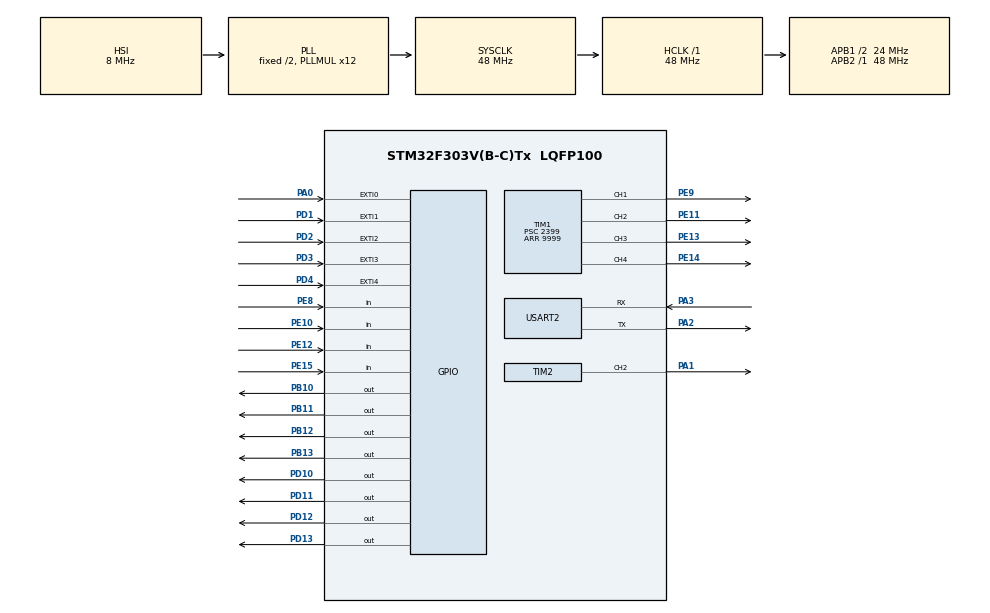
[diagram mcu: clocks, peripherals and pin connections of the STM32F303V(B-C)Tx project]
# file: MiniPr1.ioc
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Mcu.Family=STM32F3
Mcu.Name=STM32F303V(B-C)Tx
Mcu.Package=LQFP100
NVIC.EXTI0_IRQn=true\:0\:0\:false\:false\:true\:true\:true
NVIC.EXTI1_IRQn=true\:0\:0\:false\:false\:true\:true\:true
NVIC.EXTI2_TSC_IRQn=true\:0\:0\:false\:false\:true\:true\:true
NVIC.EXTI3_IRQn=true\:0\:0\:false\:false\:true\:true\:true
NVIC.EXTI4_IRQn=true\:0\:0\:false\:false\:true\:true\:true
NVIC.PriorityGroup=NVIC_PRIORITYGROUP_4
NVIC.TIM3_IRQn=true\:0\:0\:false\:false\:true\:true\:true
NVIC.TIM6_DAC_IRQn=true\:0\:0\:false\:false\:true\:true\:true
NVIC.TIM7_IRQn=true\:0\:0\:false\:false\:true\:true\:true
NVIC.USART2_IRQn=true\:0\:0\:false\:false\:true\:true\:true
PA0.GPIO_PuPd=GPIO_PULLDOWN
PA0.Signal=GPXTI0
PA1.Signal=S_TIM2_CH2
PA2.Mode=Asynchronous
PA2.Signal=USART2_TX
PA3.Mode=Asynchronous
PA3.Signal=USART2_RX
PB10.GPIO_PuPd=GPIO_PULLDOWN
PB10.Signal=GPIO_Output
PB11.GPIO_PuPd=GPIO_PULLDOWN
PB11.Signal=GPIO_Output
PB12.GPIO_PuPd=GPIO_PULLDOWN
PB12.Signal=GPIO_Output
PB13.GPIO_PuPd=GPIO_PULLDOWN
PB13.Signal=GPIO_Output
PD1.GPIO_PuPd=GPIO_PULLDOWN
PD1.Signal=GPXTI1
PD10.GPIO_PuPd=GPIO_PULLDOWN
PD10.Signal=GPIO_Output
PD11.GPIO_PuPd=GPIO_PULLDOWN
PD11.Signal=GPIO_Output
PD12.GPIO_PuPd=GPIO_PULLDOWN
PD12.Signal=GPIO_Output
PD13.GPIO_PuPd=GPIO_PULLDOWN
PD13.Signal=GPIO_Output
PD2.GPIO_PuPd=GPIO_PULLDOWN
PD2.Signal=GPXTI2
PD3.GPIO_PuPd=GPIO_PULLDOWN
PD3.Signal=GPXTI3
PD4.GPIO_PuPd=GPIO_PULLDOWN
PD4.Signal=GPXTI4
PE10.GPIO_PuPd=GPIO_PULLDOWN
PE10.Signal=GPIO_Input
PE11.Signal=S_TIM1_CH2
PE12.GPIO_PuPd=GPIO_PULLDOWN
PE12.Signal=GPIO_Input
PE13.Signal=S_TIM1_CH3
PE14.Signal=S_TIM1_CH4
PE15.GPIO_PuPd=GPIO_PULLDOWN
PE15.Signal=GPIO_Input
PE8.GPIO_PuPd=GPIO_PULLDOWN
PE8.Signal=GPIO_Input
PE9.Signal=S_TIM1_CH1
ProjectManager.HeapSize=0x200
ProjectManager.StackSize=0x400
ProjectManager.TargetToolchain=STM32CubeIDE
RCC.AHBFreq_Value=48000000
RCC.APB1CLKDivider=RCC_HCLK_DIV2
RCC.APB1Freq_Value=24000000
RCC.APB1TimFreq_Value=48000000
RCC.APB2Freq_Value=48000000
RCC.APB2TimFreq_Value=48000000
RCC.CortexFreq_Value=48000000
RCC.HCLKFreq_Value=48000000
RCC.HSE_VALUE=8000000
RCC.HSI_VALUE=8000000
RCC.LSE_VALUE=32768
RCC.PLLMUL=RCC_PLL_MUL12
RCC.SYSCLKFreq_VALUE=48000000
RCC.SYSCLKSourceVirtual=RCC_SYSCLKSOURCE_PLLCLK
RCC.USBFreq_Value=48000000
SH.S_TIM1_CH1.0=TIM1_CH1,PWM Generation1 CH1
SH.S_TIM1_CH2.0=TIM1_CH2,PWM Generation2 CH2
SH.S_TIM1_CH3.0=TIM1_CH3,PWM Generation3 CH3
SH.S_TIM1_CH4.0=TIM1_CH4,PWM Generation4 CH4
SH.S_TIM2_CH2.0=TIM2_CH2,PWM Generation2 CH2
TIM1.Channel-PWM\ Generation1\ CH1=TIM_CHANNEL_1
TIM1.Channel-PWM\ Generation2\ CH2=TIM_CHANNEL_2
TIM1.Channel-PWM\ Generation3\ CH3=TIM_CHANNEL_3
TIM1.Channel-PWM\ Generation4\ CH4=TIM_CHANNEL_4
TIM1.Period=9999
TIM1.Prescaler=2399
TIM2.Channel-PWM\ Generation2\ CH2=TIM_CHANNEL_2
TIM2.Period=10
TIM2.Prescaler=10
TIM3.Period=999
TIM3.Prescaler=191
TIM6.Period=999
TIM6.Prescaler=2399
TIM7.Period=999
TIM7.Prescaler=239
USART2.VirtualMode-Asynchronous=VM_ASYNC
VP_TIM1_VS_ClockSourceINT.Mode=Internal
VP_TIM2_VS_ClockSourceINT.Mode=Internal
VP_TIM3_VS_ClockSourceINT.Mode=Internal
VP_TIM6_VS_ClockSourceINT.Mode=Enable_Timer
VP_TIM7_VS_ClockSourceINT.Mode=Enable_Timer
board=custom

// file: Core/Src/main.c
/* USER CODE BEGIN Header */
/**
  ******************************************************************************
  * @file           : main.c
  * @brief          : Main program body
  ******************************************************************************
  * @attention
  *
  * <h2><center>&copy; Copyright (c) 2022 STMicroelectronics.
  * All rights reserved.</center></h2>
  *
  * This software component is licensed by ST under BSD 3-Clause license,
  * the "License"; You may not use this file except in compliance with the
  * License. You may obtain a copy of the License at:
  *                        opensource.org/licenses/BSD-3-Clause
  *
  ******************************************************************************
  */
/* USER CODE END Header */
#include "main.h"

/* USER CODE BEGIN Includes */
#include "string.h"
/* USER CODE END Includes */

/* USER CODE BEGIN PD */

#define password_not_set 0
#define waiting_for_entering_password 1

/* USER CODE END PD */

TIM_HandleTypeDef htim1;
TIM_HandleTypeDef htim2;
TIM_HandleTypeDef htim3;
TIM_HandleTypeDef htim6;
TIM_HandleTypeDef htim7;

UART_HandleTypeDef huart2;

/* USER CODE BEGIN PV */

char data;
char buffer[4] = "";
int position = 0;
int password = 0;
int program_state = password_not_set;
extern int digit_value_1, digit_value_2, digit_value_3, digit_value_4;

/* USER CODE END PV */

void SystemClock_Config(void);

static void MX_GPIO_Init(void);

static void MX_USART2_UART_Init(void);

static void MX_TIM1_Init(void);

static void MX_TIM7_Init(void);

static void MX_TIM2_Init(void);

static void MX_TIM6_Init(void);

static void MX_TIM3_Init(void);

/* USER CODE BEGIN 0 */
TIM_HandleTypeDef *pwm_timer = &htim2;
uint32_t pwm_channel = TIM_CHANNEL_2;

void PWM_Start() {
    HAL_TIM_PWM_Start(pwm_timer, pwm_channel);
}

void HAL_UART_RxCpltCallback(UART_HandleTypeDef *huart) {
    if (program_state == password_not_set) {
        buffer[position] = data;
        buffer[position + 1] = '\0';
        position++;

        if (position == 4) {
            password = (buffer[0] - '0') + (buffer[1] - '0') * 10 + (buffer[2] - '0') * 100 + (buffer[3] - '0') * 1000;

            char message[24] = "\nYour Password is ";
            strcat(message, buffer);
            strcat(message, ".\n");
            HAL_UART_Transmit(&huart2, message, sizeof(message), 1000);

            program_state = waiting_for_entering_password;
            return;
        }

        HAL_UART_Receive_IT(huart, &data, sizeof(data));
    }
}
/* USER CODE END 0 */

int main(void) {

    /* MCU Configuration--------------------------------------------------------*/

    /* Reset of all peripherals, Initializes the Flash interface and the Systick. */
    HAL_Init();

    /* Configure the system clock */
    SystemClock_Config();

    /* Initialize all configured peripherals */
    MX_GPIO_Init();
    MX_USART2_UART_Init();
    MX_TIM1_Init();
    MX_TIM7_Init();
    MX_TIM2_Init();
    MX_TIM6_Init();
    MX_TIM3_Init();
    /* USER CODE BEGIN 2 */
    unsigned char message[32] = "Please Enter Your New Password.\n";
    HAL_UART_Transmit(&huart2, message, sizeof(message), 1000);

    HAL_UART_Receive_IT(&huart2, &data, sizeof(data));

    HAL_TIM_PWM_Start(&htim1, TIM_CHANNEL_1);
    HAL_TIM_PWM_Start(&htim1, TIM_CHANNEL_2);
    HAL_TIM_PWM_Start(&htim1, TIM_CHANNEL_3);
    HAL_TIM_PWM_Start(&htim1, TIM_CHANNEL_4);

    HAL_TIM_Base_Start_IT(&htim3);
    HAL_TIM_Base_Start_IT(&htim6);
    HAL_TIM_Base_Start_IT(&htim7);

    PWM_Start();
    /* USER CODE END 2 */

    /* Infinite loop */
    while (1) {

    }
}

void SystemClock_Config(void) {
    RCC_OscInitTypeDef RCC_OscInitStruct = {0};
    RCC_ClkInitTypeDef RCC_ClkInitStruct = {0};
    RCC_PeriphCLKInitTypeDef PeriphClkInit = {0};

    /** Initializes the RCC Oscillators according to the specified parameters
    * in the RCC_OscInitTypeDef structure.
    */
    RCC_OscInitStruct.OscillatorType = RCC_OSCILLATORTYPE_HSI;
    RCC_OscInitStruct.HSIState = RCC_HSI_ON;
    RCC_OscInitStruct.HSICalibrationValue = RCC_HSICALIBRATION_DEFAULT;
    RCC_OscInitStruct.PLL.PLLState = RCC_PLL_ON;
    RCC_OscInitStruct.PLL.PLLSource = RCC_PLLSOURCE_HSI;
    RCC_OscInitStruct.PLL.PLLMUL = RCC_PLL_MUL12;
    if (HAL_RCC_OscConfig(&RCC_OscInitStruct) != HAL_OK) {
        Error_Handler();
    }
    /** Initializes the CPU, AHB and APB buses clocks
    */
    RCC_ClkInitStruct.ClockType = RCC_CLOCKTYPE_HCLK | RCC_CLOCKTYPE_SYSCLK
                                  | RCC_CLOCKTYPE_PCLK1 | RCC_CLOCKTYPE_PCLK2;
    RCC_ClkInitStruct.SYSCLKSource = RCC_SYSCLKSOURCE_PLLCLK;
    RCC_ClkInitStruct.AHBCLKDivider = RCC_SYSCLK_DIV1;
    RCC_ClkInitStruct.APB1CLKDivider = RCC_HCLK_DIV2;
    RCC_ClkInitStruct.APB2CLKDivider = RCC_HCLK_DIV1;

    if (HAL_RCC_ClockConfig(&RCC_ClkInitStruct, FLASH_LATENCY_1) != HAL_OK) {
        Error_Handler();
    }
    PeriphClkInit.PeriphClockSelection = RCC_PERIPHCLK_USART2 | RCC_PERIPHCLK_TIM1;
    PeriphClkInit.Usart2ClockSelection = RCC_USART2CLKSOURCE_PCLK1;
    PeriphClkInit.Tim1ClockSelection = RCC_TIM1CLK_HCLK;
    if (HAL_RCCEx_PeriphCLKConfig(&PeriphClkInit) != HAL_OK) {
        Error_Handler();
    }
}

static void MX_TIM1_Init(void) {

    TIM_ClockConfigTypeDef sClockSourceConfig = {0};
    TIM_MasterConfigTypeDef sMasterConfig = {0};
    TIM_OC_InitTypeDef sConfigOC = {0};
    TIM_BreakDeadTimeConfigTypeDef sBreakDeadTimeConfig = {0};

    htim1.Instance = TIM1;
    htim1.Init.Prescaler = 2399;
    htim1.Init.CounterMode = TIM_COUNTERMODE_UP;
    htim1.Init.Period = 9999;
    htim1.Init.ClockDivision = TIM_CLOCKDIVISION_DIV1;
    htim1.Init.RepetitionCounter = 0;
    htim1.Init.AutoReloadPreload = TIM_AUTORELOAD_PRELOAD_DISABLE;
    if (HAL_TIM_Base_Init(&htim1) != HAL_OK) {
        Error_Handler();
    }
    sClockSourceConfig.ClockSource = TIM_CLOCKSOURCE_INTERNAL;
    if (HAL_TIM_ConfigClockSource(&htim1, &sClockSourceConfig) != HAL_OK) {
        Error_Handler();
    }
    if (HAL_TIM_PWM_Init(&htim1) != HAL_OK) {
        Error_Handler();
    }
    sMasterConfig.MasterOutputTrigger = TIM_TRGO_RESET;
    sMasterConfig.MasterOutputTrigger2 = TIM_TRGO2_RESET;
    sMasterConfig.MasterSlaveMode = TIM_MASTERSLAVEMODE_DISABLE;
    if (HAL_TIMEx_MasterConfigSynchronization(&htim1, &sMasterConfig) != HAL_OK) {
        Error_Handler();
    }
    sConfigOC.OCMode = TIM_OCMODE_PWM1;
    sConfigOC.Pulse = 0;
    sConfigOC.OCPolarity = TIM_OCPOLARITY_HIGH;
    sConfigOC.OCNPolarity = TIM_OCNPOLARITY_HIGH;
    sConfigOC.OCFastMode = TIM_OCFAST_DISABLE;
    sConfigOC.OCIdleState = TIM_OCIDLESTATE_RESET;
    sConfigOC.OCNIdleState = TIM_OCNIDLESTATE_RESET;
    if (HAL_TIM_PWM_ConfigChannel(&htim1, &sConfigOC, TIM_CHANNEL_1) != HAL_OK) {
        Error_Handler();
    }
    if (HAL_TIM_PWM_ConfigChannel(&htim1, &sConfigOC, TIM_CHANNEL_2) != HAL_OK) {
        Error_Handler();
    }
    if (HAL_TIM_PWM_ConfigChannel(&htim1, &sConfigOC, TIM_CHANNEL_3) != HAL_OK) {
        Error_Handler();
    }
    if (HAL_TIM_PWM_ConfigChannel(&htim1, &sConfigOC, TIM_CHANNEL_4) != HAL_OK) {
        Error_Handler();
    }
    sBreakDeadTimeConfig.OffStateRunMode = TIM_OSSR_DISABLE;
    sBreakDeadTimeConfig.OffStateIDLEMode = TIM_OSSI_DISABLE;
    sBreakDeadTimeConfig.LockLevel = TIM_LOCKLEVEL_OFF;
    sBreakDeadTimeConfig.DeadTime = 0;
    sBreakDeadTimeConfig.BreakState = TIM_BREAK_DISABLE;
    sBreakDeadTimeConfig.BreakPolarity = TIM_BREAKPOLARITY_HIGH;
    sBreakDeadTimeConfig.BreakFilter = 0;
    sBreakDeadTimeConfig.Break2State = TIM_BREAK2_DISABLE;
    sBreakDeadTimeConfig.Break2Polarity = TIM_BREAK2POLARITY_HIGH;
    sBreakDeadTimeConfig.Break2Filter = 0;
    sBreakDeadTimeConfig.AutomaticOutput = TIM_AUTOMATICOUTPUT_DISABLE;
    if (HAL_TIMEx_ConfigBreakDeadTime(&htim1, &sBreakDeadTimeConfig) != HAL_OK) {
        Error_Handler();
    }
    HAL_TIM_MspPostInit(&htim1);

}

static void MX_TIM2_Init(void) {

    TIM_ClockConfigTypeDef sClockSourceConfig = {0};
    TIM_MasterConfigTypeDef sMasterConfig = {0};
    TIM_OC_InitTypeDef sConfigOC = {0};

    htim2.Instance = TIM2;
    htim2.Init.Prescaler = 10;
    htim2.Init.CounterMode = TIM_COUNTERMODE_UP;
    htim2.Init.Period = 10;
    htim2.Init.ClockDivision = TIM_CLOCKDIVISION_DIV1;
    htim2.Init.AutoReloadPreload = TIM_AUTORELOAD_PRELOAD_DISABLE;
    if (HAL_TIM_Base_Init(&htim2) != HAL_OK) {
        Error_Handler();
    }
    sClockSourceConfig.ClockSource = TIM_CLOCKSOURCE_INTERNAL;
    if (HAL_TIM_ConfigClockSource(&htim2, &sClockSourceConfig) != HAL_OK) {
        Error_Handler();
    }
    if (HAL_TIM_PWM_Init(&htim2) != HAL_OK) {
        Error_Handler();
    }
    sMasterConfig.MasterOutputTrigger = TIM_TRGO_RESET;
    sMasterConfig.MasterSlaveMode = TIM_MASTERSLAVEMODE_DISABLE;
    if (HAL_TIMEx_MasterConfigSynchronization(&htim2, &sMasterConfig) != HAL_OK) {
        Error_Handler();
    }
    sConfigOC.OCMode = TIM_OCMODE_PWM1;
    sConfigOC.Pulse = 0;
    sConfigOC.OCPolarity = TIM_OCPOLARITY_HIGH;
    sConfigOC.OCFastMode = TIM_OCFAST_DISABLE;
    if (HAL_TIM_PWM_ConfigChannel(&htim2, &sConfigOC, TIM_CHANNEL_2) != HAL_OK) {
        Error_Handler();
    }
    HAL_TIM_MspPostInit(&htim2);

}

static void MX_TIM3_Init(void) {

    TIM_ClockConfigTypeDef sClockSourceConfig = {0};
    TIM_MasterConfigTypeDef sMasterConfig = {0};

    htim3.Instance = TIM3;
    htim3.Init.Prescaler = 191;
    htim3.Init.CounterMode = TIM_COUNTERMODE_UP;
    htim3.Init.Period = 999;
    htim3.Init.ClockDivision = TIM_CLOCKDIVISION_DIV1;
    htim3.Init.AutoReloadPreload = TIM_AUTORELOAD_PRELOAD_DISABLE;
    if (HAL_TIM_Base_Init(&htim3) != HAL_OK) {
        Error_Handler();
    }
    sClockSourceConfig.ClockSource = TIM_CLOCKSOURCE_INTERNAL;
    if (HAL_TIM_ConfigClockSource(&htim3, &sClockSourceConfig) != HAL_OK) {
        Error_Handler();
    }
    sMasterConfig.MasterOutputTrigger = TIM_TRGO_RESET;
    sMasterConfig.MasterSlaveMode = TIM_MASTERSLAVEMODE_DISABLE;
    if (HAL_TIMEx_MasterConfigSynchronization(&htim3, &sMasterConfig) != HAL_OK) {
        Error_Handler();
    }

}

static void MX_TIM6_Init(void) {

    TIM_MasterConfigTypeDef sMasterConfig = {0};

    htim6.Instance = TIM6;
    htim6.Init.Prescaler = 2399;
    htim6.Init.CounterMode = TIM_COUNTERMODE_UP;
    htim6.Init.Period = 999;
    htim6.Init.AutoReloadPreload = TIM_AUTORELOAD_PRELOAD_DISABLE;
    if (HAL_TIM_Base_Init(&htim6) != HAL_OK) {
        Error_Handler();
    }
    sMasterConfig.MasterOutputTrigger = TIM_TRGO_RESET;
    sMasterConfig.MasterSlaveMode = TIM_MASTERSLAVEMODE_DISABLE;
    if (HAL_TIMEx_MasterConfigSynchronization(&htim6, &sMasterConfig) != HAL_OK) {
        Error_Handler();
    }

}

static void MX_TIM7_Init(void) {

    TIM_MasterConfigTypeDef sMasterConfig = {0};

    htim7.Instance = TIM7;
    htim7.Init.Prescaler = 239;
    htim7.Init.CounterMode = TIM_COUNTERMODE_UP;
    htim7.Init.Period = 999;
    htim7.Init.AutoReloadPreload = TIM_AUTORELOAD_PRELOAD_DISABLE;
    if (HAL_TIM_Base_Init(&htim7) != HAL_OK) {
        Error_Handler();
    }
    sMasterConfig.MasterOutputTrigger = TIM_TRGO_RESET;
    sMasterConfig.MasterSlaveMode = TIM_MASTERSLAVEMODE_DISABLE;
    if (HAL_TIMEx_MasterConfigSynchronization(&htim7, &sMasterConfig) != HAL_OK) {
        Error_Handler();
    }

}

static void MX_USART2_UART_Init(void) {

    huart2.Instance = USART2;
    huart2.Init.BaudRate = 38400;
    huart2.Init.WordLength = UART_WORDLENGTH_8B;
    huart2.Init.StopBits = UART_STOPBITS_1;
    huart2.Init.Parity = UART_PARITY_NONE;
    huart2.Init.Mode = UART_MODE_TX_RX;
    huart2.Init.HwFlowCtl = UART_HWCONTROL_NONE;
    huart2.Init.OverSampling = UART_OVERSAMPLING_16;
    huart2.Init.OneBitSampling = UART_ONE_BIT_SAMPLE_DISABLE;
    huart2.AdvancedInit.AdvFeatureInit = UART_ADVFEATURE_NO_INIT;
    if (HAL_UART_Init(&huart2) != HAL_OK) {
        Error_Handler();
    }

}

static void MX_GPIO_Init(void) {
    GPIO_InitTypeDef GPIO_InitStruct = {0};

    /* GPIO Ports Clock Enable */
    __HAL_RCC_GPIOA_CLK_ENABLE();
    __HAL_RCC_GPIOE_CLK_ENABLE();
    __HAL_RCC_GPIOB_CLK_ENABLE();
    __HAL_RCC_GPIOD_CLK_ENABLE();

    /*Configure GPIO pin Output Level */
    HAL_GPIO_WritePin(GPIOB, GPIO_PIN_10 | GPIO_PIN_11 | GPIO_PIN_12 | GPIO_PIN_13, GPIO_PIN_RESET);

    /*Configure GPIO pin Output Level */
    HAL_GPIO_WritePin(GPIOD, GPIO_PIN_10 | GPIO_PIN_11 | GPIO_PIN_12 | GPIO_PIN_13, GPIO_PIN_RESET);

    /*Configure GPIO pin : PA0 */
    GPIO_InitStruct.Pin = GPIO_PIN_0;
    GPIO_InitStruct.Mode = GPIO_MODE_IT_RISING;
    GPIO_InitStruct.Pull = GPIO_PULLDOWN;
    HAL_GPIO_Init(GPIOA, &GPIO_InitStruct);

    /*Configure GPIO pins : PE8 PE10 PE12 PE15 */
    GPIO_InitStruct.Pin = GPIO_PIN_8 | GPIO_PIN_10 | GPIO_PIN_12 | GPIO_PIN_15;
    GPIO_InitStruct.Mode = GPIO_MODE_INPUT;
    GPIO_InitStruct.Pull = GPIO_PULLDOWN;
    HAL_GPIO_Init(GPIOE, &GPIO_InitStruct);

    /*Configure GPIO pins : PB10 PB11 PB12 PB13 */
    GPIO_InitStruct.Pin = GPIO_PIN_10 | GPIO_PIN_11 | GPIO_PIN_12 | GPIO_PIN_13;
    GPIO_InitStruct.Mode = GPIO_MODE_OUTPUT_PP;
    GPIO_InitStruct.Pull = GPIO_PULLDOWN;
    GPIO_InitStruct.Speed = GPIO_SPEED_FREQ_LOW;
    HAL_GPIO_Init(GPIOB, &GPIO_InitStruct);

    /*Configure GPIO pins : PD10 PD11 PD12 PD13 */
    GPIO_InitStruct.Pin = GPIO_PIN_10 | GPIO_PIN_11 | GPIO_PIN_12 | GPIO_PIN_13;
    GPIO_InitStruct.Mode = GPIO_MODE_OUTPUT_PP;
    GPIO_InitStruct.Pull = GPIO_PULLDOWN;
    GPIO_InitStruct.Speed = GPIO_SPEED_FREQ_LOW;
    HAL_GPIO_Init(GPIOD, &GPIO_InitStruct);

    /*Configure GPIO pins : PD1 PD2 PD3 PD4 */
    GPIO_InitStruct.Pin = GPIO_PIN_1 | GPIO_PIN_2 | GPIO_PIN_3 | GPIO_PIN_4;
    GPIO_InitStruct.Mode = GPIO_MODE_IT_RISING;
    GPIO_InitStruct.Pull = GPIO_PULLDOWN;
    HAL_GPIO_Init(GPIOD, &GPIO_InitStruct);

    /* EXTI interrupt init*/
    HAL_NVIC_SetPriority(EXTI0_IRQn, 0, 0);
    HAL_NVIC_EnableIRQ(EXTI0_IRQn);

    HAL_NVIC_SetPriority(EXTI1_IRQn, 0, 0);
    HAL_NVIC_EnableIRQ(EXTI1_IRQn);

    HAL_NVIC_SetPriority(EXTI2_TSC_IRQn, 0, 0);
    HAL_NVIC_EnableIRQ(EXTI2_TSC_IRQn);

    HAL_NVIC_SetPriority(EXTI3_IRQn, 0, 0);
    HAL_NVIC_EnableIRQ(EXTI3_IRQn);

    HAL_NVIC_SetPriority(EXTI4_IRQn, 0, 0);
    HAL_NVIC_EnableIRQ(EXTI4_IRQn);

}

void Error_Handler(void) {
    __disable_irq();
    while (1) {
    }
}

/************************ (C) COPYRIGHT STMicroelectronics *****END OF FILE****/
